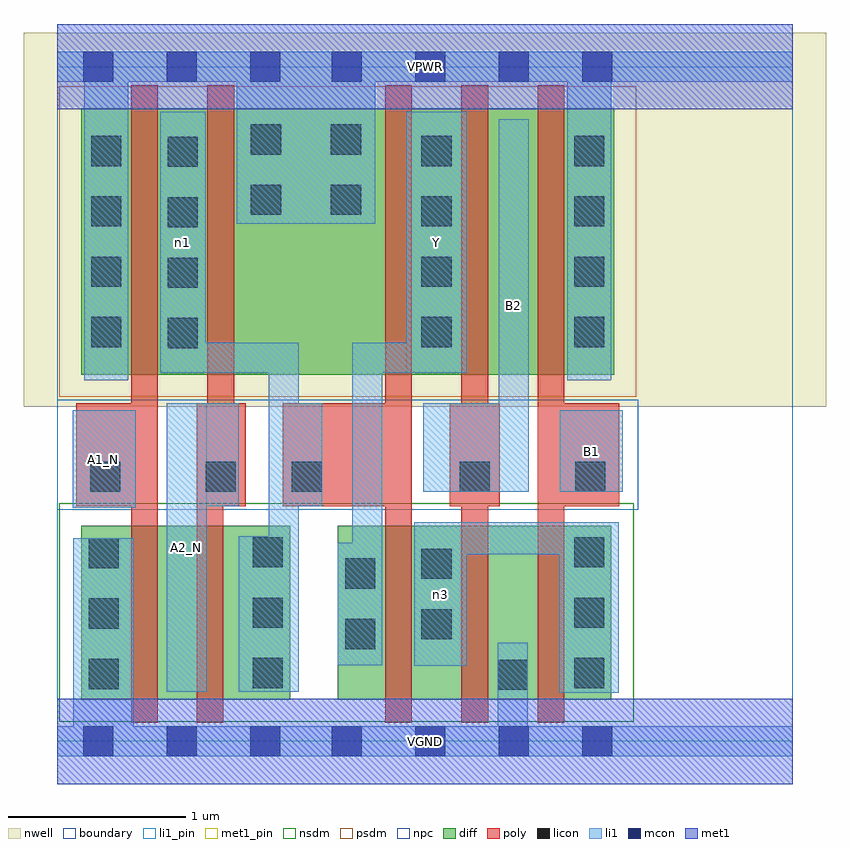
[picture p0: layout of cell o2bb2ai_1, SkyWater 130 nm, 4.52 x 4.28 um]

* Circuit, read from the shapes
.subckt o2bb2ai_1 A1_N A2_N B1 B2 VGND VPWR Y n1 n3
XM1 n2 A1_N VGND VSUBS sky130_fd_pr__nfet_01v8 w=0.98 l=0.15
XM2 n1 A2_N n2 VSUBS sky130_fd_pr__nfet_01v8 w=0.98 l=0.15
XM3 n3 n1 Y VSUBS sky130_fd_pr__nfet_01v8 w=0.98 l=0.15
XM4 VGND B2 n3 VSUBS sky130_fd_pr__nfet_01v8 w=0.98 l=0.15
XM5 n3 B1 VGND VSUBS sky130_fd_pr__nfet_01v8 w=0.98 l=0.15
XM6 n1 A1_N VPWR n4 sky130_fd_pr__pfet_01v8 w=1.5 l=0.15
XM7 VPWR A2_N n1 n4 sky130_fd_pr__pfet_01v8 w=1.5 l=0.15
XM8 Y n1 VPWR n4 sky130_fd_pr__pfet_01v8 w=1.5 l=0.15
XM9 n5 B2 Y n4 sky130_fd_pr__pfet_01v8 w=1.5 l=0.15
XM10 VPWR B1 n5 n4 sky130_fd_pr__pfet_01v8 w=1.5 l=0.15
.ends

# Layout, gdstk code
import gdstk
lib = gdstk.Library(unit=1e-6, precision=1e-09)
def R(c, l, rs):  # rectangles x0, y0, x1, y1
    for r in rs: c.add(gdstk.rectangle(r[:2], r[2:], *l))
def A(c, l, x, y, w, h, nx, ny, dx, dy):  # array of equal rectangles
    R(c, l, [(x+i*dx, y+j*dy, x+i*dx+w, y+j*dy+h) for i in range(nx) for j in range(ny)])
nwell = (64, 20)
diff = (65, 20)
poly = (66, 20)
licon = (66, 44)
li1_pin = (67, 16)
li1 = (67, 20)
mcon = (67, 44)
met1_pin = (68, 16)
met1 = (68, 20)
nsdm = (93, 44)
psdm = (94, 20)
npc = (95, 20)
boundary = (235, 4)

o2bb2ai_1 = lib.new_cell('o2bb2ai_1')
R(o2bb2ai_1, nwell, [(-0.19,1.885,4.33,3.99), (0,1.885,4.14,3.99)])
R(o2bb2ai_1, diff, [(0.135,0.235,1.31,1.215), (1.58,0.235,3.12,1.215), (0.135,2.065,3.135,3.565)])
A(o2bb2ai_1, poly, 1.845, 0.105, 0.15, 3.59, 3, 1, 0.43, 0)
R(o2bb2ai_1, poly, [(0.415,0.105,0.565,3.695), (0.785,0.105,0.935,1.905), (0.105,1.325,0.565,1.905), (0.785,1.325,1.06,1.905), (0.845,1.325,0.995,3.695), (1.27,1.325,1.995,1.905), (2.21,1.325,2.49,1.905), (2.705,1.325,3.165,1.905)])
A(o2bb2ai_1, licon, 0.175, 0.295, 0.17, 0.17, 1, 3, 0, 0.34)
A(o2bb2ai_1, licon, 1.1, 0.3, 0.17, 0.17, 1, 3, 0, 0.34)
A(o2bb2ai_1, licon, 2.91, 0.3, 0.17, 0.17, 1, 3, 0, 0.34)
A(o2bb2ai_1, licon, 0.62, 2.215, 0.17, 0.17, 1, 4, 0, 0.34)
A(o2bb2ai_1, licon, 0.19, 2.22, 0.17, 0.17, 1, 4, 0, 0.34)
A(o2bb2ai_1, licon, 2.05, 2.22, 0.17, 0.17, 1, 4, 0, 0.34)
A(o2bb2ai_1, licon, 2.91, 2.22, 0.17, 0.17, 1, 4, 0, 0.34)
R(o2bb2ai_1, licon, [(2.48,0.29,2.65,0.46), (1.62,0.52,1.79,0.69), (2.05,0.575,2.22,0.745), (1.62,0.86,1.79,1.03), (2.05,0.915,2.22,1.085), (0.185,1.405,0.355,1.575), (0.835,1.405,1.005,1.575), (1.32,1.405,1.49,1.575), (2.265,1.405,2.435,1.575), (2.915,1.405,3.085,1.575), (1.09,2.965,1.26,3.135), (1.54,2.965,1.71,3.135), (1.09,3.305,1.26,3.475), (1.54,3.305,1.71,3.475)])
R(o2bb2ai_1, li1_pin, [(0.615,0.28,0.84,1.905), (0.085,1.315,0.44,1.865), (2.485,1.405,2.655,3.505), (2.83,1.405,3.185,1.865), (1.965,2.075,2.305,3.545)])
R(o2bb2ai_1, li1, [(0,-0.085,4.14,0.085), (0.09,-0.085,0.43,1.145), (2.48,-0.085,2.65,0.555), (2.825,0.275,3.16,1.235), (0.615,0.28,0.84,1.905), (1.02,0.28,1.36,1.155), (1.19,0.28,1.36,2.245), (2.01,0.425,2.305,1.235), (1.58,0.43,1.83,1.12), (1.66,0.43,1.83,2.245), (2.01,1.055,3.16,1.235), (0.085,1.315,0.44,1.865), (0.615,1.325,1.02,1.905), (1.19,1.325,1.49,1.905), (2.06,1.405,2.655,1.905), (2.485,1.405,2.655,3.505), (2.83,1.405,3.185,1.865), (0.15,2.035,0.4,3.885), (2.87,2.035,3.12,3.885), (0.58,2.075,0.835,3.545), (0.58,2.075,1.36,2.245), (1.66,2.075,2.305,2.245), (1.965,2.075,2.305,3.545), (1.01,2.915,1.79,3.885), (0,3.715,4.14,3.885)])
A(o2bb2ai_1, mcon, 0.145, -0.085, 0.17, 0.17, 3, 2, 0.47, 3.8)
A(o2bb2ai_1, mcon, 1.545, -0.085, 0.17, 0.17, 4, 2, 0.47, 3.8)
R(o2bb2ai_1, met1_pin, [(0,-0.24,4.14,0.24), (0,3.56,4.14,4.04)])
R(o2bb2ai_1, met1, [(0,-0.24,4.14,0.24), (0,3.56,4.14,4.04)])
R(o2bb2ai_1, nsdm, [(0.01,0.11,3.245,1.34)])
R(o2bb2ai_1, psdm, [(0.01,1.94,3.26,3.69)])
R(o2bb2ai_1, npc, [(0,1.305,3.27,1.925)])
R(o2bb2ai_1, boundary, [(0,0,4.14,3.8)])
o2bb2ai_1.add(gdstk.Label('A1_N', (0.262,1.59), layer=67, texttype=5))
o2bb2ai_1.add(gdstk.Label('A2_N', (0.727,1.092), layer=67, texttype=5))
o2bb2ai_1.add(gdstk.Label('B1', (3.007,1.635), layer=67, texttype=5))
o2bb2ai_1.add(gdstk.Label('B2', (2.57,2.455), layer=67, texttype=5))
o2bb2ai_1.add(gdstk.Label('Y', (2.135,2.81), layer=67, texttype=5))
o2bb2ai_1.add(gdstk.Label('n3', (2.157,0.83), layer=67, texttype=5))
o2bb2ai_1.add(gdstk.Label('n1', (0.707,2.81), layer=67, texttype=5))
o2bb2ai_1.add(gdstk.Label('VPWR', (2.07,3.8), layer=68, texttype=5))
o2bb2ai_1.add(gdstk.Label('VGND', (2.07,0), layer=68, texttype=5))
o2bb2ai_1.add(gdstk.Label('A1_N', (0.262,1.59), layer=67, texttype=16))
o2bb2ai_1.add(gdstk.Label('A2_N', (0.727,1.092), layer=67, texttype=16))
o2bb2ai_1.add(gdstk.Label('B1', (3.007,1.635), layer=67, texttype=16))
o2bb2ai_1.add(gdstk.Label('B2', (2.57,2.455), layer=67, texttype=16))
o2bb2ai_1.add(gdstk.Label('Y', (2.135,2.81), layer=67, texttype=16))
o2bb2ai_1.add(gdstk.Label('VPWR', (2.07,3.8), layer=68, texttype=16))
o2bb2ai_1.add(gdstk.Label('VGND', (2.07,0), layer=68, texttype=16))

lib.write_gds('o2bb2ai_1.gds')
